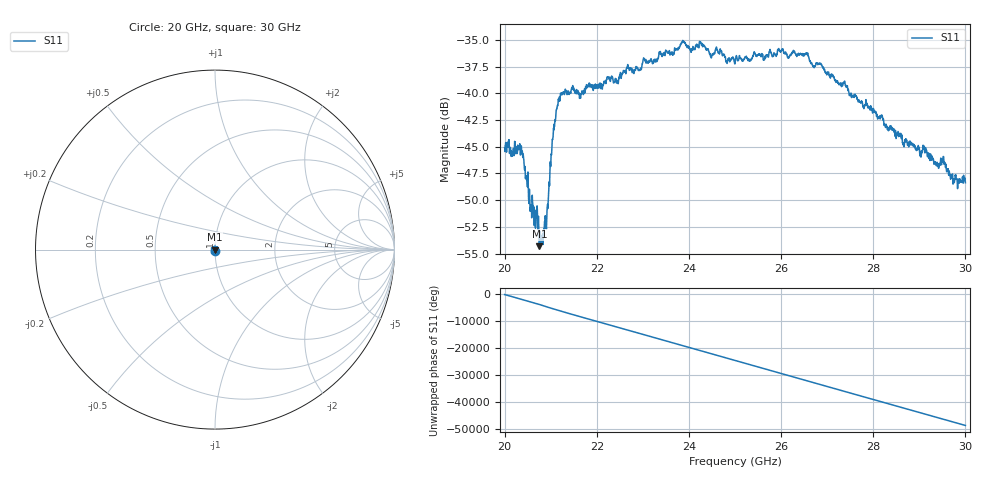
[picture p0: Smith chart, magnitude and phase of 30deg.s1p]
#  HZ  S  RI  R  50.00
! Rohde & Schwarz ZVA40 4Ports - Version 3.90 - 1145.1110k42 SN: 100403
! Date: 2023-10-03 11:47:51
! Measurement: S12
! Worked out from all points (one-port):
!   5001 points, 20 GHz to 30 GHz, reference 50 ohm
!   lowest |S11| = -54.3 dB at 20.75 GHz (marker M1), VSWR 1.00, Z = 49.8 + j0.0218 ohm
!   |S11| at or under -10 dB: start of sweep to end of sweep
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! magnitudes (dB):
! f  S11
! 20 GHz  -45.1
! 20.36 GHz  -45.0
! 20.54 GHz  -49.4
! 20.75 GHz  -54.3
! 20.8 GHz  -53.4
! 20.88 GHz  -52.1
! 20.93 GHz  -50.4
! 21.03 GHz  -45.0
! 21.08 GHz  -43.1
! 21.17 GHz  -40.5
! 21.25 GHz  -40.1
! 21.67 GHz  -40.1
! 22.5 GHz  -38.3
! 23.75 GHz  -35.8
! 23.87 GHz  -35.1
! 24.06 GHz  -35.8
! 24.27 GHz  -35.5
! 24.49 GHz  -36.6
! 25 GHz  -37.2
! 26.25 GHz  -36.2
! 26.56 GHz  -36.3
! 27.5 GHz  -40.2
! 28.75 GHz  -44.8
! 29.12 GHz  -45.5
! 29.38 GHz  -46.5
! 29.51 GHz  -46.4
! 29.72 GHz  -47.6
! 30 GHz  -48.4
